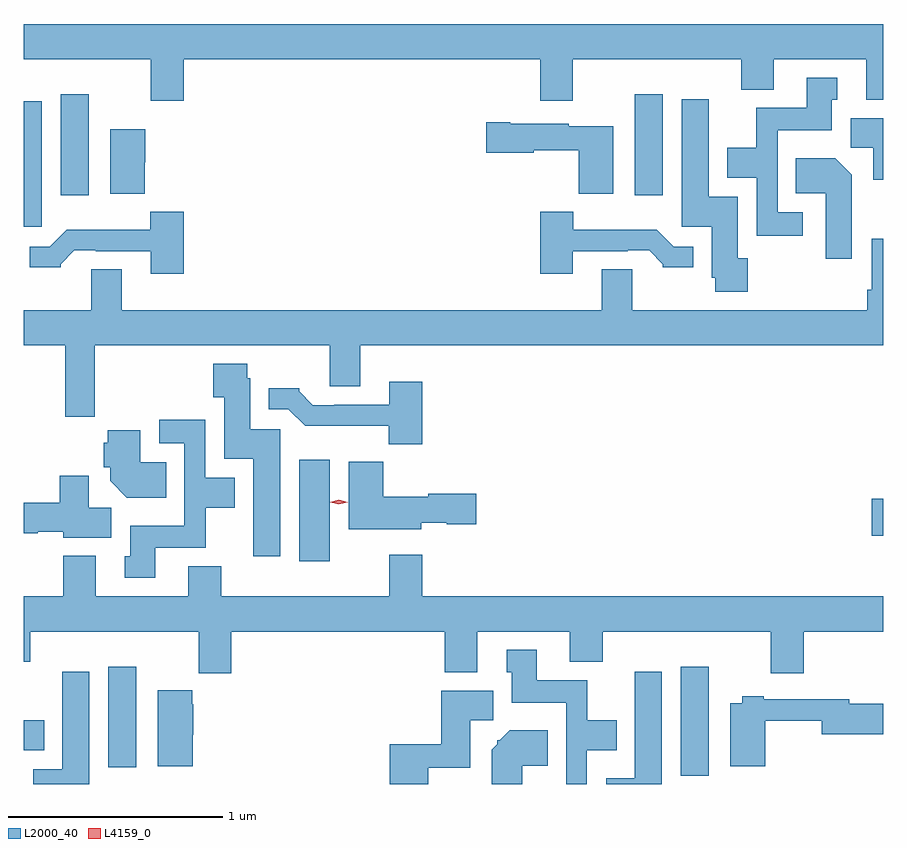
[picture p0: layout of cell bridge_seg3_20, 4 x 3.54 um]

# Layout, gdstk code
import gdstk
lib = gdstk.Library(unit=1e-6, precision=1e-09)
def R(c, l, rs):  # rectangles x0, y0, x1, y1
    for r in rs: c.add(gdstk.rectangle(r[:2], r[2:], *l))
def P(c, l, *ps):  # polygons
    for p in ps: c.add(gdstk.Polygon(p, *l))
L2000_40 = (2000, 40)
L4159_0 = (4159, 0)

bridge_seg3_20 = lib.new_cell('bridge_seg3_20')
R(bridge_seg3_20, L2000_40, [(772.745,717.561,772.876,718.069), (770.081,717.6,770.212,718.069), (769.688,717.68,769.783,717.82), (770.969,718.56,771.112,719.032), (773.634,718.679,773.688,718.85), (769.688,720.117,769.771,720.7), (769.859,720.264,769.99,720.733), (772.532,720.264,772.663,720.733)])
P(bridge_seg3_20, L2000_40, [(770.432,720.896),(772.091,720.896),(772.091,720.702),(772.243,720.702),(772.243,720.896),(773.027,720.896),(773.027,720.755),(773.179,720.755),(773.179,720.896),(773.609,720.896),(773.609,720.707),(773.688,720.707),(773.688,721.06),(769.688,721.06),(769.688,720.896),(770.279,720.896),(770.279,720.702),(770.432,720.702)],
  [(773.314,720.183),(773.196,720.183),(773.196,720.566),(773.449,720.566),(773.449,720.708),(773.473,720.708),(773.473,720.811),(773.333,720.811),(773.333,720.67),(773.098,720.67),(773.098,720.484),(772.961,720.484),(772.961,720.344),(773.1,720.344),(773.1,720.075),(773.314,720.075)],
  [(773.058,719.97),(773.011,719.97),(773.011,720.256),(772.876,720.256),(772.876,720.709),(772.751,720.709),(772.751,720.117),(772.889,720.117),(772.889,719.88),(772.906,719.88),(772.906,719.814),(773.058,719.814)],
  [(773.688,720.622),(773.537,720.622),(773.537,720.484),(773.642,720.484),(773.642,720.336),(773.688,720.336)],
  [(772.432,720.583),(772.224,720.583),(772.224,720.595),(771.952,720.595),(771.952,720.603),(771.84,720.603),(771.84,720.461),(772.062,720.461),(772.062,720.473),(772.27,720.473),(772.27,720.269),(772.432,720.269)],
  [(770.252,720.417),(770.254,720.417),(770.254,720.571),(770.09,720.571),(770.09,720.269),(770.252,720.269)],
  [(773.542,720.358),(773.464,720.436),(773.281,720.436),(773.281,720.272),(773.42,720.272),(773.42,719.967),(773.542,719.967)],
  [(770.432,720.187),(770.277,720.187),(770.277,720.103),(769.888,720.103),(769.809,720.024),(769.716,720.024),(769.716,719.927),(769.86,719.927),(769.86,719.942),(769.924,720.006),(770.023,720.006),(770.023,720.003),(770.279,720.003),(770.279,719.898),(770.432,719.898)],
  [(772.243,720.003),(772.499,720.003),(772.499,720.006),(772.598,720.006),(772.662,719.942),(772.662,719.927),(772.804,719.927),(772.804,720.024),(772.713,720.024),(772.635,720.103),(772.246,720.103),(772.246,720.187),(772.091,720.187),(772.091,719.898),(772.243,719.898)],
  [(770.018,719.564),(771.113,719.564),(771.113,719.374),(771.253,719.374),(771.253,719.564),(773.688,719.564),(773.688,720.061),(773.634,720.061),(773.634,719.824),(773.614,719.824),(773.614,719.728),(772.519,719.728),(772.519,719.918),(772.379,719.918),(772.379,719.728),(770.143,719.728),(770.143,719.918),(770.003,719.918),(770.003,719.728),(769.688,719.728),(769.688,719.564),(769.882,719.564),(769.882,719.232),(770.018,719.232)],
  [(770.881,719.175),(770.743,719.175),(770.743,719.412),(770.727,719.412),(770.727,719.479),(770.57,719.479),(770.57,719.323),(770.621,719.323),(770.621,719.036),(770.756,719.036),(770.756,718.584),(770.881,718.584)],
  [(771.542,719.395),(771.389,719.395),(771.389,719.289),(771.133,719.289),(771.133,719.286),(771.034,719.286),(770.97,719.35),(770.97,719.365),(770.828,719.365),(770.828,719.268),(770.919,719.268),(770.998,719.19),(771.387,719.19),(771.387,719.105),(771.542,719.105)],
  [(770.299,718.622),(770.535,718.622),(770.535,718.808),(770.671,718.808),(770.671,718.948),(770.532,718.948),(770.532,719.218),(770.319,719.218),(770.319,719.109),(770.436,719.109),(770.436,718.726),(770.183,718.726),(770.183,718.584),(770.159,718.584),(770.159,718.482),(770.299,718.482)],
  [(770.351,719.02),(770.23,719.02),(770.23,719.17),(770.078,719.17),(770.078,719.112),(770.06,719.112),(770.06,718.998),(770.09,718.998),(770.09,718.934),(770.168,718.856),(770.351,718.856)],
  [(771.538,718.739),(771.657,718.739),(771.657,718.732),(771.793,718.732),(771.793,718.874),(771.57,718.874),(771.57,718.861),(771.362,718.861),(771.362,719.023),(771.2,719.023),(771.2,718.709),(771.538,718.709)],
  [(770.095,718.808),(769.99,718.808),(769.99,718.957),(769.856,718.957),(769.856,718.832),(769.688,718.832),(769.688,718.69),(769.752,718.69),(769.752,718.697),(769.872,718.697),(769.872,718.67),(770.095,718.67)],
  [(773.318,718.232),(773.688,718.232),(773.688,718.396),(771.542,718.396),(771.542,718.591),(771.389,718.591),(771.389,718.396),(770.606,718.396),(770.606,718.537),(770.453,718.537),(770.453,718.396),(770.023,718.396),(770.023,718.585),(769.871,718.585),(769.871,718.396),(769.688,718.396),(769.688,718.091),(769.718,718.091),(769.718,718.232),(770.503,718.232),(770.503,718.039),(770.654,718.039),(770.654,718.232),(771.647,718.232),(771.647,718.043),(771.799,718.043),(771.799,718.232),(772.229,718.232),(772.229,718.091),(772.382,718.091),(772.382,718.232),(773.165,718.232),(773.165,718.038),(773.318,718.038)],
  [(772.308,717.68),(772.447,717.68),(772.447,717.82),(772.311,717.82),(772.311,718.006),(772.075,718.006),(772.075,718.147),(771.935,718.147),(771.935,718.044),(771.959,718.044),(771.959,717.902),(772.212,717.902),(772.212,717.523),(772.308,717.523)],
  [(769.993,718.045),(769.868,718.045),(769.868,717.592),(769.733,717.592),(769.733,717.523),(769.993,717.523)],
  [(772.657,718.045),(772.532,718.045),(772.532,717.55),(772.398,717.55),(772.398,717.523),(772.657,717.523)],
  [(770.474,717.753),(770.476,717.753),(770.476,717.894),(770.473,717.894),(770.473,717.959),(770.312,717.959),(770.312,717.605),(770.474,717.605)],
  [(771.57,717.599),(771.766,717.599),(771.766,717.819),(771.874,717.819),(771.874,717.958),(771.632,717.958),(771.632,717.709),(771.392,717.709),(771.392,717.523),(771.57,717.523)],
  [(773.138,717.817),(773.402,717.817),(773.402,717.755),(773.688,717.755),(773.688,717.897),(773.53,717.897),(773.53,717.918),(773.131,717.918),(773.131,717.931),(773.031,717.931),(773.031,717.898),(772.976,717.898),(772.976,717.605),(773.138,717.605)],
  [(772.009,717.608),(772.127,717.608),(772.127,717.772),(771.949,717.772),(771.903,717.726),(771.891,717.726),(771.891,717.708),(771.866,717.683),(771.866,717.523),(772.009,717.523)])
P(bridge_seg3_20, L4159_0, [(771.155,718.825),(771.114,718.835),(771.114,718.835),(771.114,718.835),(771.155,718.845),(771.196,718.835),(771.196,718.835),(771.196,718.835)])

lib.write_gds('bridge_seg3_20.gds')
